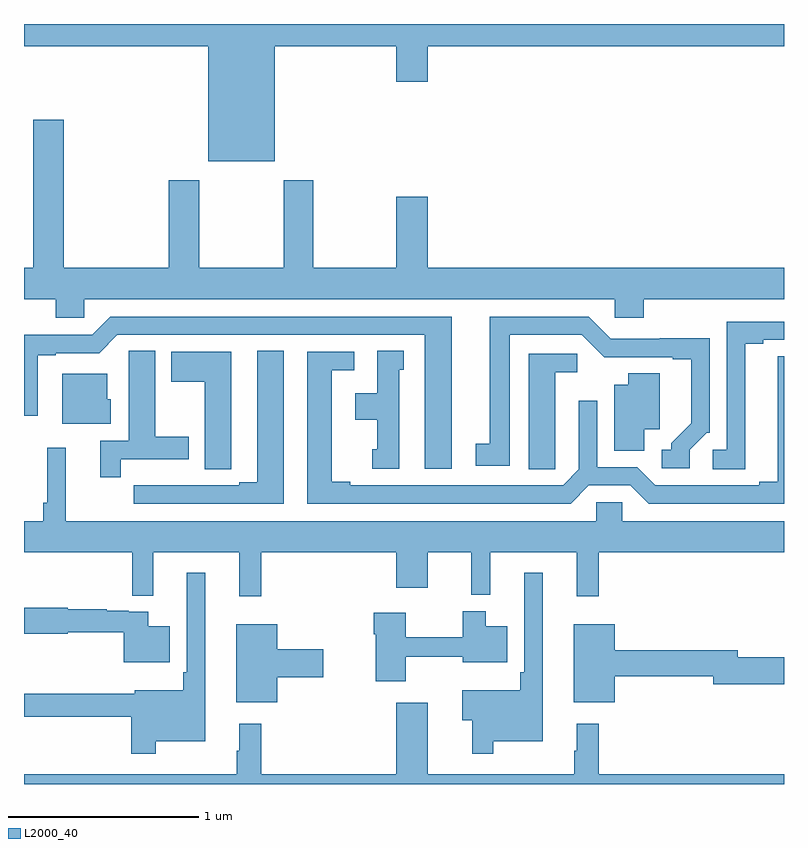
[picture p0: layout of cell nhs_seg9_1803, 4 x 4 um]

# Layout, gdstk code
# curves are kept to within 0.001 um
import gdstk
lib = gdstk.Library(unit=1e-6, precision=1e-09)
def P(c, l, *ps):  # polygons
    for p in ps: c.add(gdstk.Polygon(p, *l))
L2000_40 = (2000, 40)

nhs_seg9_1803 = lib.new_cell('nhs_seg9_1803')
P(nhs_seg9_1803, L2000_40, [(211,1232.384),(211.97,1232.384),(211.97,1231.778),(212.32,1231.778),(212.32,1232.384),(212.96,1232.384),(212.96,1232.196),(213.124,1232.196),(213.124,1232.384),(215,1232.384),(215,1232.5),(211,1232.5)],
  [(211.317,1231.052),(214.11,1231.052),(214.11,1230.954),(214.262,1230.954),(214.262,1231.052),(215,1231.052),(215,1231.216),(213.124,1231.216),(213.124,1231.591),(212.96,1231.591),(212.96,1231.216),(212.523,1231.216),(212.523,1231.678),(212.368,1231.678),(212.368,1231.216),(211.923,1231.216),(211.923,1231.678),(211.763,1231.678),(211.763,1231.216),(211.208,1231.216),(211.208,1231.996),(211.048,1231.996),(211.048,1231.216),(211,1231.216),(211,1231.052),(211.166,1231.052),(211.166,1230.954),(211.317,1230.954)],
  [(214.503,1230.258),(214.593,1230.348),(214.608,1230.348),(214.608,1230.845),(214.345,1230.845),(214.345,1230.843),(214.089,1230.843),(213.972,1230.96),(213.452,1230.96),(213.452,1230.29),(213.378,1230.29),(213.378,1230.174),(213.556,1230.174),(213.556,1230.864),(213.936,1230.864),(214.054,1230.746),(214.415,1230.747),(214.415,1230.735),(214.511,1230.735),(214.511,1230.398),(214.406,1230.293),(214.406,1230.258),(214.356,1230.258),(214.356,1230.162),(214.503,1230.162)],
  [(213.25,1230.96),(211.455,1230.96),(211.359,1230.864),(211,1230.864),(211,1230.438),(211.072,1230.438),(211.072,1230.756),(211.168,1230.756),(211.168,1230.768),(211.395,1230.768),(211.491,1230.864),(213.11,1230.864),(213.11,1230.159),(213.25,1230.159)],
  [(214.795,1230.817),(214.891,1230.817),(214.891,1230.837),(215,1230.837),(215,1230.933),(214.698,1230.933),(214.698,1230.258),(214.626,1230.258),(214.626,1230.157),(214.795,1230.157)],
  [(212.368,1230.779),(212.228,1230.779),(212.228,1230.087),(212.132,1230.087),(212.132,1230.072),(211.856,1230.072),(211.856,1230.073),(211.69,1230.073),(211.69,1230.072),(211.578,1230.072),(211.578,1229.976),(212.368,1229.976)],
  [(211.508,1230.21),(211.867,1230.21),(211.867,1230.327),(211.69,1230.327),(211.69,1230.779),(211.551,1230.779),(211.551,1230.668),(211.55,1230.668),(211.55,1230.306),(211.4,1230.306),(211.4,1230.114),(211.508,1230.114)],
  [(212.974,1230.681),(212.998,1230.681),(212.998,1230.779),(212.858,1230.779),(212.858,1230.556),(212.744,1230.556),(212.744,1230.416),(212.858,1230.416),(212.858,1230.261),(212.834,1230.261),(212.834,1230.159),(212.974,1230.159)],
  [(212.091,1230.265),(212.092,1230.265),(212.092,1230.775),(211.775,1230.775),(211.775,1230.616),(211.952,1230.616),(211.952,1230.157),(212.091,1230.157)],
  [(213.973,1230.072),(214.191,1230.072),(214.287,1229.976),(215,1229.976),(215,1230.752),(214.967,1230.752),(214.967,1230.092),(214.871,1230.092),(214.871,1230.072),(214.323,1230.072),(214.227,1230.168),(214.017,1230.168),(214.017,1230.517),(213.921,1230.517),(213.921,1230.156),(213.837,1230.072),(212.716,1230.072),(212.716,1230.092),(212.62,1230.092),(212.62,1230.678),(212.737,1230.678),(212.737,1230.774),(212.492,1230.774),(212.492,1229.976),(213.877,1229.976)],
  [(213.795,1230.265),(213.796,1230.265),(213.796,1230.668),(213.913,1230.668),(213.913,1230.765),(213.656,1230.765),(213.656,1230.157),(213.795,1230.157)],
  [(214.264,1230.368),(214.345,1230.368),(214.345,1230.662),(214.181,1230.662),(214.181,1230.601),(214.106,1230.601),(214.106,1230.253),(214.264,1230.253)],
  [(211.456,1230.525),(211.438,1230.525),(211.438,1230.658),(211.202,1230.658),(211.202,1230.395),(211.456,1230.395)],
  [(212.249,1229.72),(212.96,1229.72),(212.96,1229.532),(213.124,1229.532),(213.124,1229.72),(213.355,1229.72),(213.355,1229.495),(213.455,1229.495),(213.455,1229.72),(213.908,1229.72),(213.908,1229.487),(214.025,1229.487),(214.025,1229.72),(215,1229.72),(215,1229.884),(214.149,1229.884),(214.149,1229.982),(214.011,1229.982),(214.011,1229.884),(211.22,1229.884),(211.22,1230.271),(211.122,1230.271),(211.122,1229.98),(211.102,1229.98),(211.102,1229.884),(211,1229.884),(211,1229.72),(211.57,1229.72),(211.57,1229.491),(211.679,1229.491),(211.679,1229.72),(212.132,1229.72),(212.132,1229.487),(212.249,1229.487)],
  [(213.469,1228.724),(213.73,1228.724),(213.73,1229.611),(213.633,1229.611),(213.633,1229.089),(213.613,1229.089),(213.613,1228.993),(213.306,1228.993),(213.306,1228.835),(213.358,1228.835),(213.358,1228.659),(213.469,1228.659)],
  [(211.693,1228.724),(211.954,1228.724),(211.954,1229.611),(211.857,1229.611),(211.857,1229.089),(211.837,1229.089),(211.837,1228.993),(211.583,1228.993),(211.583,1228.975),(211,1228.975),(211,1228.854),(211.564,1228.854),(211.564,1228.659),(211.693,1228.659)],
  [(211.768,1229.329),(211.654,1229.329),(211.654,1229.406),(211.55,1229.406),(211.55,1229.412),(211.436,1229.412),(211.436,1229.419),(211.23,1229.419),(211.23,1229.427),(211,1229.427),(211,1229.29),(211.23,1229.29),(211.23,1229.298),(211.525,1229.298),(211.525,1229.141),(211.768,1229.141)],
  [(213.01,1229.17),(213.308,1229.17),(213.308,1229.141),(213.544,1229.141),(213.544,1229.329),(213.43,1229.329),(213.43,1229.41),(213.308,1229.41),(213.308,1229.273),(213.01,1229.273),(213.01,1229.401),(212.84,1229.401),(212.84,1229.288),(212.852,1229.288),(212.852,1229.04),(213.01,1229.04)],
  [(212.332,1229.063),(212.575,1229.063),(212.575,1229.21),(212.332,1229.21),(212.332,1229.341),(212.117,1229.341),(212.117,1228.931),(212.332,1228.931)],
  [(214.108,1229.068),(214.628,1229.068),(214.628,1229.026),(215,1229.026),(215,1229.168),(214.756,1229.168),(214.756,1229.204),(214.108,1229.204),(214.108,1229.341),(213.893,1229.341),(213.893,1228.931),(214.108,1228.931)],
  [(215,1228.552),(214.025,1228.552),(214.025,1228.816),(213.908,1228.816),(213.908,1228.676),(213.897,1228.676),(213.897,1228.552),(213.124,1228.552),(213.124,1228.927),(212.96,1228.927),(212.96,1228.552),(212.249,1228.552),(212.249,1228.816),(212.132,1228.816),(212.132,1228.676),(212.121,1228.676),(212.121,1228.552),(211,1228.552),(211,1228.5),(215,1228.5)])

lib.write_gds('nhs_seg9_1803.gds')
